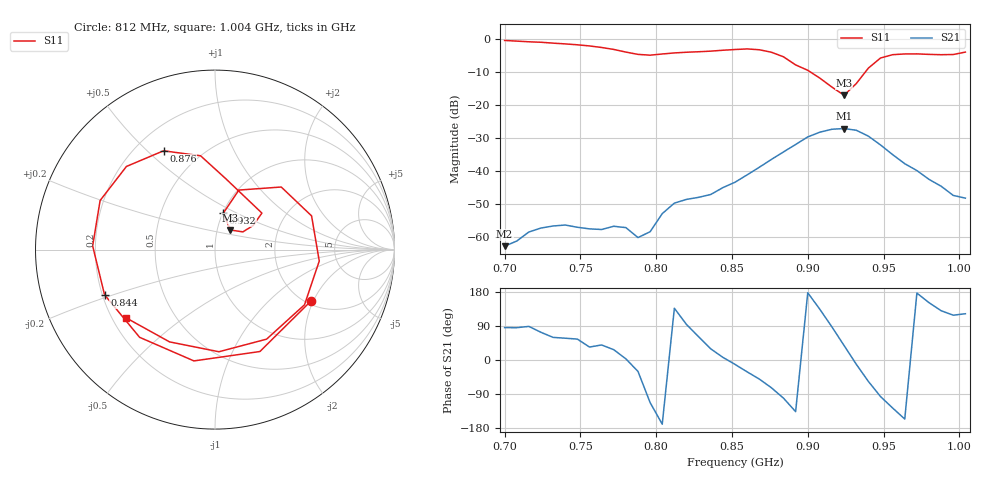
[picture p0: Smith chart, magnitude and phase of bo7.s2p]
# Hz S RI R 50
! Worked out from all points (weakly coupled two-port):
!   39 points, 700 MHz to 1.004 GHz, reference 50 ohm
!   highest |S21| = -27.20 dB at 924 MHz (marker M1); lowest = -62.7 dB at 700 MHz (marker M2)
!   lowest |S11| = -17.1 dB at 924 MHz (marker M3), VSWR 1.32, Z = 57.9 + j12.9 ohm
!   |S11| at or under -10 dB: 901.4 MHz to 938.2 MHz (36.83 MHz wide, 4 % of centre)
!   S12 and S22 are empty: the file has one direction only
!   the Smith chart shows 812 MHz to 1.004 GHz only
!   S11 on the Smith chart (normalised r, x): 812 MHz: 2.10, -1.91; 844 MHz: 0.21, -0.19; 876 MHz: 0.31, +0.56; 932 MHz: 1.01, +0.43; 1.004 GHz: 0.26, -0.32
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7e8  0.7506 0.5567  5.81e-05 0.000729  0 0  0 0
7.24e8  0.8442 -0.2402  0.000401 0.00131  0 0  0 0
7.4e8  0.4576 -0.6917  0.000819 0.00129  0 0  0 0
7.56e8  -0.1866 -0.7491  0.0011 0.000749  0 0  0 0
7.72e8  -0.6566 -0.1915  0.0013 0.000668  0 0  0 0
7.8e8  -0.5804 0.2286  0.00139 7.38e-05  0 0  0 0
7.88e8  -0.2298 0.5281  0.000853 -0.000495  0 0  0 0
7.96e8  0.2467 0.503  -0.00046 -0.00112  0 0  0 0
8.04e8  0.5627 0.1558  -0.00223 -0.000417  0 0  0 0
8.12e8  0.5328 -0.2883  -0.00237 0.00225  0 0  0 0
8.28e8  -0.1175 -0.6202  0.00192 0.00351  0 0  0 0
8.44e8  -0.6154 -0.2517  0.00556 0.000681  0 0  0 0
8.52e8  -0.6817 0.0205  0.00662 -0.00135  0 0  0 0
8.76e8  -0.2869 0.5504  0.00432 -0.0143  0 0  0 0
9e8  0.2613 0.2035  -0.0326 0.00148  0 0  0 0
9.08e8  0.213 0.1347  -0.0266 0.0278  0 0  0 0
9.24e8  0.0862 0.1092  0.0344 0.0269  0 0  0 0
9.32e8  0.0463 0.2033  0.0404 -0.00798  0 0  0 0
9.48e8  0.369 0.3487  -0.00279 -0.0245  0 0  0 0
9.56e8  0.538 0.1879  -0.0105 -0.0141  0 0  0 0
9.8e8  0.2874 -0.4989  -0.00654 0.00358  0 0  0 0
1.004e9  -0.4932 -0.3814  -0.00206 0.00329  0 0  0 0
